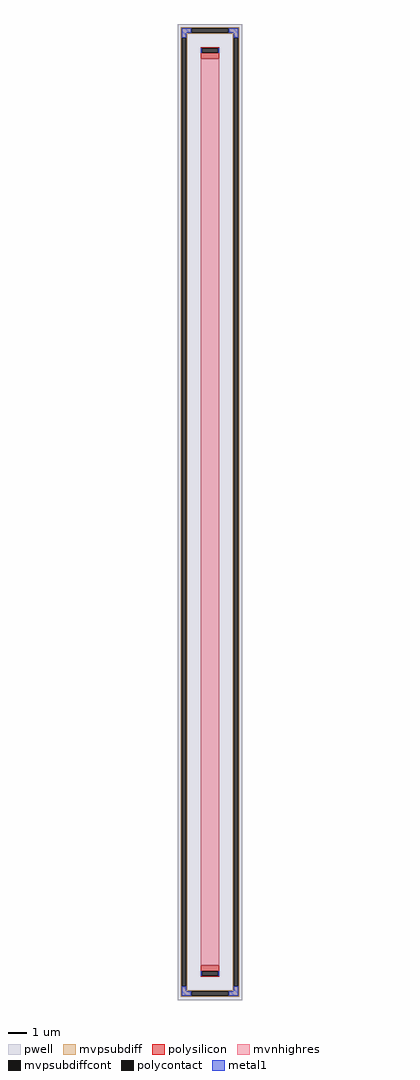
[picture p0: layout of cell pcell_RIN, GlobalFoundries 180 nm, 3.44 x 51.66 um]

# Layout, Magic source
magic
tech gf180mcuD
magscale 1 10
<< pwell >>
rect -344 -5166 344 5166
<< mvpsubdiff >>
rect -312 5121 312 5134
rect -312 5075 -196 5121
rect 196 5075 312 5121
rect -312 5062 312 5075
rect -312 5018 -240 5062
rect -312 -5018 -299 5018
rect -253 -5018 -240 5018
rect 240 5018 312 5062
rect -312 -5062 -240 -5018
rect 240 -5018 253 5018
rect 299 -5018 312 5018
rect 240 -5062 312 -5018
rect -312 -5075 312 -5062
rect -312 -5121 -196 -5075
rect 196 -5121 312 -5075
rect -312 -5134 312 -5121
<< mvpsubdiffcont >>
rect -196 5075 196 5121
rect -299 -5018 -253 5018
rect 253 -5018 299 5018
rect -196 -5121 196 -5075
<< polysilicon >>
rect -100 4909 100 4922
rect -100 4863 -87 4909
rect 87 4863 100 4909
rect -100 4800 100 4863
rect -100 -4863 100 -4800
rect -100 -4909 -87 -4863
rect 87 -4909 100 -4863
rect -100 -4922 100 -4909
<< polycontact >>
rect -87 4863 87 4909
rect -87 -4909 87 -4863
<< mvnhighres >>
rect -100 -4800 100 4800
<< metal1 >>
rect -299 5075 -196 5121
rect 196 5075 299 5121
rect -299 5018 -253 5075
rect 253 5018 299 5075
rect -98 4863 -87 4909
rect 87 4863 98 4909
rect -98 -4909 -87 -4863
rect 87 -4909 98 -4863
rect -299 -5075 -253 -5018
rect 253 -5075 299 -5018
rect -299 -5121 -196 -5075
rect 196 -5121 299 -5075
<< properties >>
string FIXED_BBOX -2760 -50980 2760 50980
<< end >>
